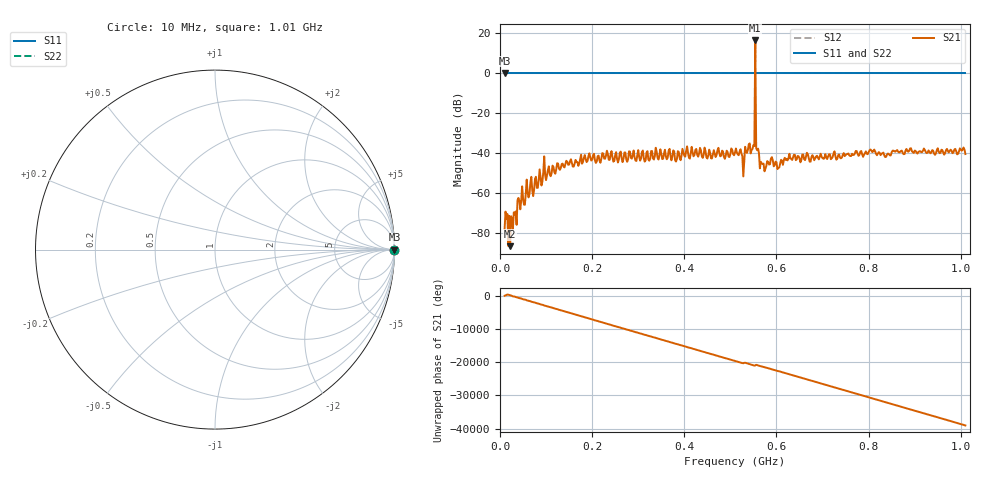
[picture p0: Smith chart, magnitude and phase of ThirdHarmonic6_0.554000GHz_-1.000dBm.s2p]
! 8/15/2025 5:35:36 PM
! C:\ANRITSUVNA\TEMP\TEMP.S2P
! CHANNEL.1
! TR.MEASUREMENT
! RAW.DATA
! RF.CORRECTION.OFF
! AVERAGING.OFF
! IF.BANDWIDTH: 5KHZ
! SWEEPTYPE:  FREQ.SWEEP(Linear)
! Reference Plane Port Info
! PORT:  PORT1  PORT2
! DISTANCE:  0  m  0  m
! TIME:  0  s  0  s
! PHASE.OFFSET:  0  deg.  0  deg.
! LOSS:  0  dB  0  dB
! REF.LOSS:  0  dB  0  dB
! REF.FREQ:  0  Hz  0  Hz
! Power Info
! POWER:  -20  dBm  -20  dBm
! EFF.POWER:  -20  dBm  -20  dBm
! SOURCE.ATTEN:  0  dB  0  dB
! TEST.ATTEN:  0  dB  0  dB
# GHZ S RI R 50.0
! FREQ.GHZ  S11RE  S11IM  S21RE  S21IM  S12RE  S12IM  S22RE  S22IM
!; PortSelection: Port_12
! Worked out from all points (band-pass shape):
!   501 points, 10 MHz to 1.01 GHz, reference 50 ohm
!   highest |S21| = 16.34 dB at 554 MHz (marker M1); lowest = -86.7 dB at 22 MHz (marker M2)
!   |S21| within 3 dB of the highest: 553.8865 MHz to 554.1112 MHz (224.7 kHz wide, 0.0406 % of centre)
!   lowest |S11| = 0.0 dB at 10 MHz (marker M3)
!   |S11| at or under -10 dB: nowhere
!   |S22| runs from 0.0 to 0.0 dB; largest |S21 - S12| = 7.2
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0.01  1 0  2.07e-05 -0.000123  1 0  1 0
0.016  1 0  9.28e-05 -0.000281  1 0  1 0
0.022  1 0  1.17e-05 4.47e-05  1 0  1 0
0.032  1 0  0.000208 0.000199  1 0  1 0
0.044  1 0  -0.000272 -0.000275  1 0  1 0
0.098  1 0  -0.0026 0.000945  1 0  1 0
0.178  1 0  -0.00538 0.000201  1 0  1 0
0.344  1 0  0.00559 -0.00395  1 0  1 0
0.51  1 0  -0.00736 0.00712  1 0  1 0
0.526  1 0  -0.00778 -0.00278  1 0  1 0
0.536  1 0  -0.00961 0.00283  1 0  1 0
0.548  1 0  0.0113 0.00558  1 0  1 0
0.55  1 0  0.00808 -0.0135  1 0  1 0
0.554  1 0  -3.986 -5.209  1 0  1 0
0.558  1 0  0.0101 -0.00591  1 0  1 0
0.56  1 0  -0.00816 -0.0099  1 0  1 0
0.574  1 0  0.00228 0.00261  1 0  1 0
0.588  1 0  -0.00366 -0.00623  1 0  1 0
0.678  1 0  -0.00632 -0.00609  1 0  1 0
0.808  1 0  0.00831 0.0064  1 0  1 0
0.844  1 0  0.00783 0.00517  1 0  1 0
1.01  1 0  -0.00938 0.000297  1 0  1 0
